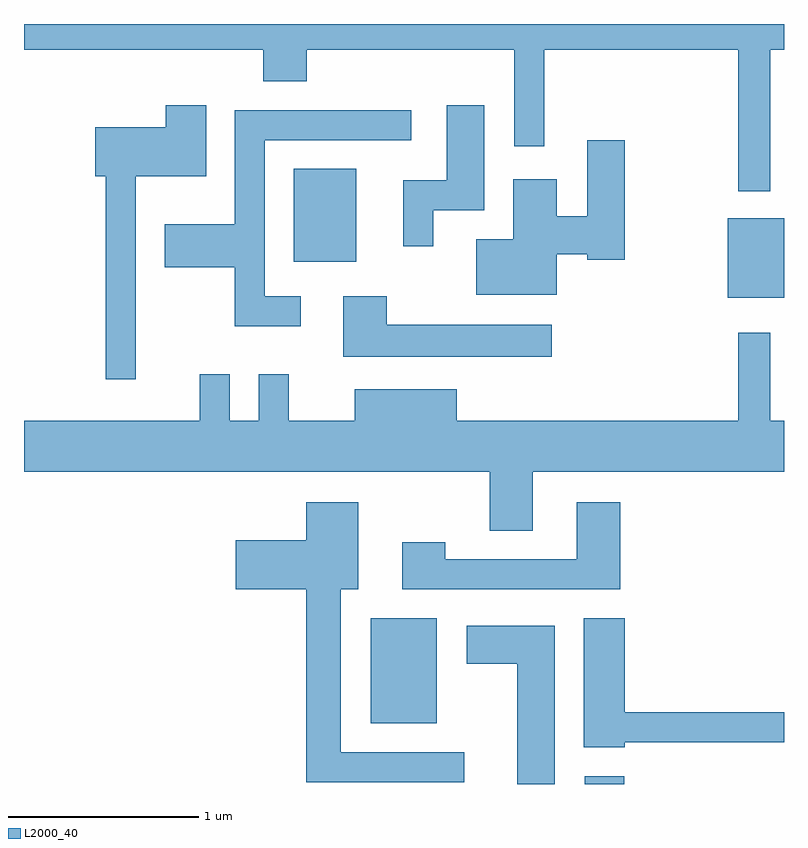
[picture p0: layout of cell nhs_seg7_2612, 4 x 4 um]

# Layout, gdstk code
import gdstk
lib = gdstk.Library(unit=1e-6, precision=1e-09)
def R(c, l, rs):  # rectangles x0, y0, x1, y1
    for r in rs: c.add(gdstk.rectangle(r[:2], r[2:], *l))
def P(c, l, *ps):  # polygons
    for p in ps: c.add(gdstk.Polygon(p, *l))
L2000_40 = (2000, 40)

nhs_seg7_2612 = lib.new_cell('nhs_seg7_2612')
R(nhs_seg7_2612, L2000_40, [(268.561,1688.252,268.769,1688.294), (267.436,1688.571,267.784,1689.124), (269.316,1690.811,269.611,1691.229), (267.031,1691.001,267.359,1691.489)])
P(nhs_seg7_2612, L2000_40, [(269.539,1692.116),(269.611,1692.116),(269.611,1692.252),(265.611,1692.252),(265.611,1692.116),(266.871,1692.116),(266.871,1691.951),(267.099,1691.951),(267.099,1692.116),(268.191,1692.116),(268.191,1691.608),(268.349,1691.608),(268.349,1692.116),(269.371,1692.116),(269.371,1691.373),(269.539,1691.373)],
  [(267.764,1691.271),(268.034,1691.271),(268.034,1691.824),(267.836,1691.824),(267.836,1691.429),(267.606,1691.429),(267.606,1691.083),(267.764,1691.083)],
  [(266.199,1691.451),(266.569,1691.451),(266.569,1691.824),(266.356,1691.824),(266.356,1691.709),(265.986,1691.709),(265.986,1691.451),(266.041,1691.451),(266.041,1690.383),(266.199,1690.383)],
  [(267.068,1690.819),(266.879,1690.819),(266.879,1691.641),(267.648,1691.641),(267.648,1691.799),(266.721,1691.799),(266.721,1691.199),(266.351,1691.199),(266.351,1690.971),(266.721,1690.971),(266.721,1690.661),(267.068,1690.661)],
  [(268.414,1691.041),(268.576,1691.041),(268.576,1691.011),(268.774,1691.011),(268.774,1691.639),(268.576,1691.639),(268.576,1691.239),(268.414,1691.239),(268.414,1691.434),(268.186,1691.434),(268.186,1691.119),(267.991,1691.119),(267.991,1690.826),(268.414,1690.826)],
  [(268.388,1690.669),(267.519,1690.669),(267.519,1690.819),(267.291,1690.819),(267.291,1690.501),(268.388,1690.501)],
  [(268.289,1689.896),(269.611,1689.896),(269.611,1690.164),(269.539,1690.164),(269.539,1690.628),(269.371,1690.628),(269.371,1690.164),(267.889,1690.164),(267.889,1690.329),(267.351,1690.329),(267.351,1690.164),(267.004,1690.164),(267.004,1690.408),(266.846,1690.408),(266.846,1690.164),(266.694,1690.164),(266.694,1690.408),(266.536,1690.408),(266.536,1690.164),(265.611,1690.164),(265.611,1689.896),(268.061,1689.896),(268.061,1689.586),(268.289,1689.586)],
  [(268.749,1689.734),(268.521,1689.734),(268.521,1689.434),(267.829,1689.434),(267.829,1689.524),(267.601,1689.524),(267.601,1689.276),(268.749,1689.276)],
  [(267.928,1688.419),(267.279,1688.419),(267.279,1689.276),(267.369,1689.276),(267.369,1689.734),(267.096,1689.734),(267.096,1689.534),(266.726,1689.534),(266.726,1689.276),(267.096,1689.276),(267.096,1688.261),(267.928,1688.261)],
  [(268.774,1688.471),(269.611,1688.471),(269.611,1688.629),(268.774,1688.629),(268.774,1689.124),(268.556,1689.124),(268.556,1688.446),(268.774,1688.446)],
  [(268.404,1689.084),(267.941,1689.084),(267.941,1688.886),(268.206,1688.886),(268.206,1688.252),(268.404,1688.252)])

lib.write_gds('nhs_seg7_2612.gds')
